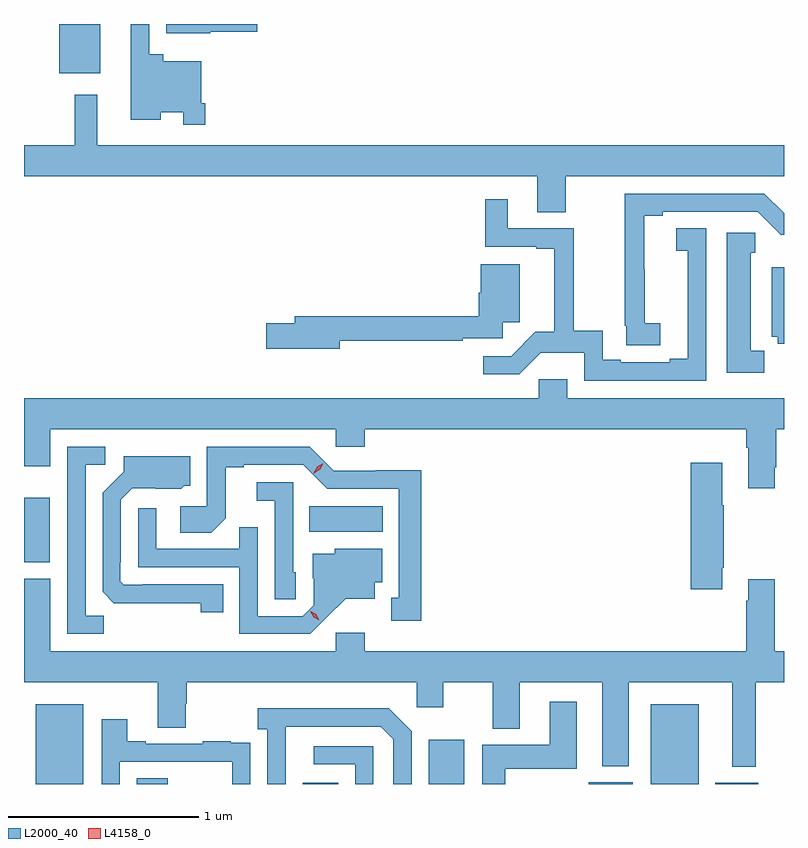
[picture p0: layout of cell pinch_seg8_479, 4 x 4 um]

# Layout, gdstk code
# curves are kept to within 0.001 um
import gdstk
lib = gdstk.Library(unit=1e-6, precision=1e-09)
def R(c, l, rs):  # rectangles x0, y0, x1, y1
    for r in rs: c.add(gdstk.rectangle(r[:2], r[2:], *l))
def P(c, l, *ps):  # polygons
    for p in ps: c.add(gdstk.Polygon(p, *l))
L2000_40 = (2000, 40)
L4158_0 = (4158, 0)

pinch_seg8_479 = lib.new_cell('pinch_seg8_479')
R(pinch_seg8_479, L2000_40, [(213.629,1126.621,213.88,1127.041), (214.16,1126.621,214.324,1126.652), (215.033,1126.621,215.221,1126.627), (215.696,1126.621,215.884,1126.855), (216.539,1126.621,216.772,1126.63), (216.866,1126.621,217.117,1127.041), (217.205,1126.621,217.432,1126.627), (213.567,1127.789,213.703,1128.127), (215.068,1127.948,215.455,1128.082), (213.752,1130.363,213.967,1130.621)])
P(pinch_seg8_479, L2000_40, [(214.548,1130.579),(214.795,1130.579),(214.795,1130.621),(214.316,1130.621),(214.316,1130.573),(214.548,1130.573)],
  [(214.52,1130.203),(214.5,1130.203),(214.5,1130.425),(214.301,1130.425),(214.301,1130.461),(214.227,1130.461),(214.227,1130.621),(214.13,1130.621),(214.13,1130.117),(214.288,1130.117),(214.288,1130.156),(214.404,1130.156),(214.404,1130.091),(214.52,1130.091)],
  [(216.417,1129.82),(217.567,1129.82),(217.567,1129.984),(213.952,1129.984),(213.952,1130.248),(213.835,1130.248),(213.835,1129.984),(213.567,1129.984),(213.567,1129.82),(216.269,1129.82),(216.269,1129.63),(216.417,1129.63)],
  [(216.916,1129.046),(216.834,1129.046),(216.832,1129.612),(216.928,1129.612),(216.928,1129.632),(217.428,1129.632),(217.549,1129.511),(217.567,1129.511),(217.567,1129.625),(217.464,1129.728),(216.73,1129.728),(216.73,1129.033),(216.736,1129.033),(216.736,1128.931),(216.916,1128.931)],
  [(217.158,1129.547),(216.999,1129.547),(216.999,1129.427),(217.06,1129.427),(217.061,1128.86),(216.965,1128.86),(216.965,1128.84),(216.709,1128.84),(216.709,1128.854),(216.612,1128.854),(216.612,1129.007),(216.461,1129.007),(216.461,1129.545),(216.112,1129.545),(216.112,1129.699),(215.995,1129.699),(215.995,1129.449),(216.263,1129.449),(216.263,1129.437),(216.359,1129.437),(216.359,1129),(216.259,1129),(216.132,1128.873),(215.985,1128.873),(215.985,1128.777),(216.174,1128.777),(216.287,1128.89),(216.516,1128.89),(216.516,1128.744),(217.158,1128.744)],
  [(217.462,1128.9),(217.393,1128.9),(217.393,1129.416),(217.415,1129.416),(217.415,1129.522),(217.265,1129.522),(217.265,1128.785),(217.462,1128.785)],
  [(215.23,1128.954),(215.876,1128.954),(215.876,1128.966),(216.087,1128.966),(216.087,1129.052),(216.175,1129.052),(216.175,1129.357),(215.972,1129.357),(215.972,1129.206),(215.96,1129.206),(215.96,1129.082),(214.991,1129.082),(214.991,1129.046),(214.842,1129.046),(214.842,1128.911),(215.23,1128.911)],
  [(217.567,1129.342),(217.502,1129.342),(217.502,1128.974),(217.534,1128.974),(217.534,1128.937),(217.567,1128.937)],
  [(217.519,1128.289),(217.527,1128.289),(217.527,1128.488),(217.567,1128.488),(217.567,1128.652),(216.427,1128.652),(216.427,1128.75),(216.276,1128.75),(216.276,1128.652),(213.567,1128.652),(213.567,1128.294),(213.706,1128.294),(213.706,1128.488),(215.208,1128.488),(215.208,1128.395),(215.36,1128.395),(215.36,1128.488),(217.367,1128.488),(217.367,1128.392),(217.379,1128.392),(217.379,1128.177),(217.519,1128.177)],
  [(215.659,1128.272),(215.418,1128.272),(215.418,1128.27),(215.196,1128.27),(215.07,1128.396),(214.53,1128.396),(214.53,1128.084),(214.389,1128.084),(214.389,1127.944),(214.553,1127.944),(214.629,1128.02),(214.629,1128.288),(214.723,1128.288),(214.723,1128.3),(215.037,1128.3),(215.163,1128.174),(215.54,1128.174),(215.54,1127.601),(215.501,1127.601),(215.501,1127.481),(215.659,1127.481)],
  [(213.987,1127.507),(213.891,1127.507),(213.891,1128.3),(213.994,1128.3),(213.994,1128.396),(213.795,1128.396),(213.795,1127.412),(213.987,1127.412)],
  [(214.616,1127.673),(214.192,1127.673),(214.192,1127.67),(214.092,1127.67),(214.074,1127.688),(214.074,1127.788),(214.077,1127.788),(214.077,1128.117),(214.137,1128.177),(214.394,1128.176),(214.41,1128.192),(214.441,1128.192),(214.441,1128.346),(214.091,1128.346),(214.091,1128.264),(213.981,1128.154),(213.981,1127.632),(214.04,1127.573),(214.498,1127.572),(214.498,1127.526),(214.616,1127.526)],
  [(217.243,1127.758),(217.251,1127.758),(217.251,1128.089),(217.243,1128.089),(217.243,1128.313),(217.076,1128.313),(217.076,1127.646),(217.243,1127.646)],
  [(214.998,1127.736),(214.983,1127.736),(214.983,1128.21),(214.791,1128.21),(214.791,1128.113),(214.887,1128.113),(214.887,1127.593),(214.998,1127.593)],
  [(215.158,1127.495),(215.261,1127.597),(215.413,1127.597),(215.413,1127.684),(215.452,1127.684),(215.452,1127.86),(215.202,1127.86),(215.202,1127.833),(215.087,1127.833),(215.087,1127.704),(215.091,1127.704),(215.091,1127.562),(215.034,1127.505),(214.797,1127.505),(214.797,1127.972),(214.699,1127.972),(214.699,1127.859),(214.263,1127.859),(214.263,1128.073),(214.167,1128.073),(214.167,1127.763),(214.701,1127.763),(214.701,1127.412),(215.074,1127.412)],
  [(213.567,1127.701),(213.567,1127.156),(214.271,1127.156),(214.271,1126.918),(214.419,1126.918),(214.419,1127.043),(214.424,1127.043),(214.424,1127.156),(215.634,1127.156),(215.634,1127.025),(215.773,1127.025),(215.773,1127.156),(216.035,1127.156),(216.035,1126.913),(216.175,1126.913),(216.175,1127.156),(216.611,1127.156),(216.611,1126.715),(216.751,1126.715),(216.751,1127.156),(217.295,1127.156),(217.295,1126.712),(217.417,1126.712),(217.417,1127.156),(217.567,1127.156),(217.567,1127.32),(217.519,1127.32),(217.519,1127.698),(217.379,1127.698),(217.379,1127.585),(217.367,1127.585),(217.367,1127.32),(215.36,1127.32),(215.36,1127.416),(215.208,1127.416),(215.208,1127.32),(213.706,1127.32),(213.706,1127.701)],
  [(216.1,1126.7),(216.475,1126.7),(216.475,1127.053),(216.335,1127.053),(216.335,1126.828),(215.978,1126.828),(215.978,1126.621),(216.1,1126.621)],
  [(214.944,1126.723),(214.945,1126.923),(215.445,1126.923),(215.511,1126.857),(215.511,1126.621),(215.607,1126.621),(215.607,1126.899),(215.486,1127.02),(214.797,1127.02),(214.797,1126.91),(214.848,1126.91),(214.848,1126.621),(214.944,1126.621)],
  [(214.071,1126.737),(214.662,1126.737),(214.662,1126.621),(214.758,1126.621),(214.758,1126.73),(214.757,1126.73),(214.757,1126.839),(214.655,1126.839),(214.655,1126.846),(214.507,1126.846),(214.507,1126.833),(214.207,1126.833),(214.207,1126.846),(214.111,1126.846),(214.111,1126.963),(213.975,1126.963),(213.975,1126.621),(214.071,1126.621)],
  [(215.406,1126.821),(215.091,1126.821),(215.091,1126.725),(215.31,1126.725),(215.31,1126.621),(215.406,1126.621)])
P(pinch_seg8_479, L4158_0, [(215.093,1128.257),(215.093,1128.258),(215.11,1128.29),(215.141,1128.31),(215.141,1128.31),(215.141,1128.31),(215.125,1128.277),(215.094,1128.257)],
  [(215.122,1127.483),(215.091,1127.499),(215.074,1127.529),(215.074,1127.53),(215.075,1127.53),(215.105,1127.514),(215.122,1127.484),(215.122,1127.483)])

lib.write_gds('pinch_seg8_479.gds')
